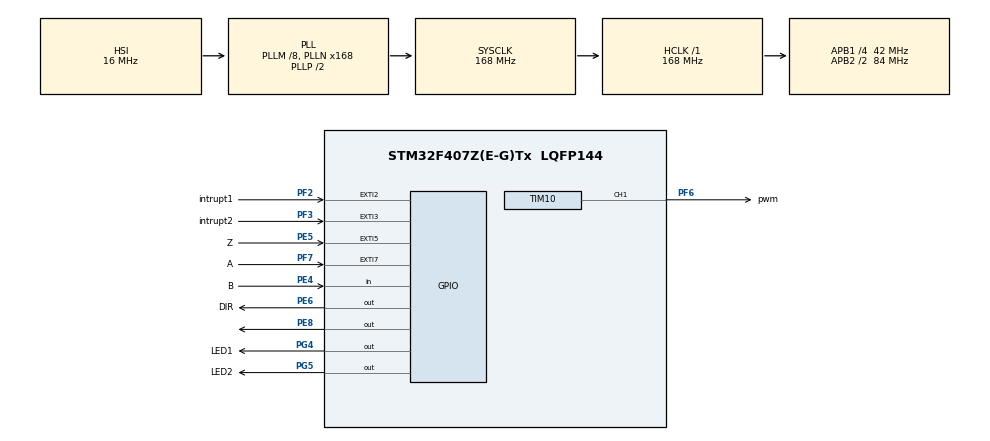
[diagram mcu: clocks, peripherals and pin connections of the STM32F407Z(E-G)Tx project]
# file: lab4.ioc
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Mcu.Family=STM32F4
Mcu.Name=STM32F407Z(E-G)Tx
Mcu.Package=LQFP144
NVIC.EXTI2_IRQn=true\:0\:0\:false\:false\:true\:true\:true\:true
NVIC.EXTI3_IRQn=true\:0\:0\:false\:false\:true\:true\:true\:true
NVIC.EXTI9_5_IRQn=true\:0\:0\:false\:false\:true\:true\:true\:true
NVIC.PriorityGroup=NVIC_PRIORITYGROUP_4
NVIC.TIM6_DAC_IRQn=true\:0\:0\:false\:false\:true\:true\:true\:true
NVIC.TIM7_IRQn=true\:0\:0\:false\:false\:true\:true\:true\:true
PE4.GPIO_Label=B
PE4.Signal=GPIO_Input
PE5.GPIO_Label=Z
PE5.Signal=GPXTI5
PE6.GPIO_Label=DIR
PE6.Signal=GPIO_Output
PE8.Signal=GPIO_Output
PF2.GPIO_Label=intrupt1
PF2.Signal=GPXTI2
PF3.GPIO_Label=intrupt2
PF3.Signal=GPXTI3
PF6.GPIO_Label=pwm
PF6.Signal=S_TIM10_CH1
PF7.GPIO_Label=A
PF7.Signal=GPXTI7
PG4.GPIO_Label=LED1
PG4.Signal=GPIO_Output
PG5.GPIO_Label=LED2
PG5.Signal=GPIO_Output
ProjectManager.HeapSize=0x200
ProjectManager.StackSize=0x400
ProjectManager.TargetToolchain=STM32CubeIDE
RCC.48MHZClocksFreq_Value=84000000
RCC.AHBFreq_Value=168000000
RCC.APB1CLKDivider=RCC_HCLK_DIV4
RCC.APB1Freq_Value=42000000
RCC.APB1TimFreq_Value=84000000
RCC.APB2CLKDivider=RCC_HCLK_DIV2
RCC.APB2Freq_Value=84000000
RCC.APB2TimFreq_Value=168000000
RCC.CortexFreq_Value=168000000
RCC.HCLKFreq_Value=168000000
RCC.HSE_VALUE=25000000
RCC.HSI_VALUE=16000000
RCC.LSE_VALUE=32768
RCC.PLLM=8
RCC.PLLN=168
RCC.SYSCLKFreq_VALUE=168000000
RCC.SYSCLKSource=RCC_SYSCLKSOURCE_PLLCLK
RCC.VCOOutputFreq_Value=336000000
SH.S_TIM10_CH1.0=TIM10_CH1,PWM Generation1 CH1
TIM10.Channel=TIM_CHANNEL_1
TIM10.Period=11199
TIM10.Prescaler=0
TIM11.Channel=TIM_CHANNEL_1
TIM11.Period=999
TIM11.Prescaler=839
TIM6.Period=999
TIM6.Prescaler=839
TIM7.Period=9999
TIM7.Prescaler=83
VP_TIM10_VS_ClockSourceINT.Mode=Enable_Timer
VP_TIM11_VS_ClockSourceINT.Mode=Enable_Timer
VP_TIM6_VS_ClockSourceINT.Mode=Enable_Timer
VP_TIM7_VS_ClockSourceINT.Mode=Enable_Timer
board=custom

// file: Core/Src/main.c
/* USER CODE BEGIN Header */
/**
  ******************************************************************************
  * @file           : main.c
  * @brief          : Main program body
  ******************************************************************************
  * @attention
  *
  * Copyright (c) 2024 STMicroelectronics.
  * All rights reserved.
  *
  * This software is licensed under terms that can be found in the LICENSE file
  * in the root directory of this software component.
  * If no LICENSE file comes with this software, it is provided AS-IS.
  *
  ******************************************************************************
  */
/* USER CODE END Header */
#include "main.h"

TIM_HandleTypeDef htim6;
TIM_HandleTypeDef htim7;
TIM_HandleTypeDef htim10;
TIM_HandleTypeDef htim11;

/* USER CODE BEGIN PV */

uint32_t PPR=1024;
uint32_t speed_counter = 0;
uint32_t direction = 0;
int32_t speed = 0;
uint32_t pos = 0;
int32_t pos_counter = 0;
uint32_t MAX_Voltage = 12.0f;
float error = 0.0f;
float error0 = 0.0f;
float k_p = 0.01 ,k_i = 0.01;
float setpoint = 270;
float u = 0.0f , u0=0.0f;
float Ts= 0.13f;
float c1=-0.4926f , c2=0.7454, c3=-0.6822;

/* USER CODE END PV */

void SystemClock_Config(void);
static void MX_GPIO_Init(void);
static void MX_TIM10_Init(void);
static void MX_TIM6_Init(void);
static void MX_TIM7_Init(void);
static void MX_TIM11_Init(void);

/* USER CODE BEGIN 0 */

enum{
	INIT,
	CONTROL
} state;
/* USER CODE END 0 */

int main(void)
{

  /* MCU Configuration--------------------------------------------------------*/

  /* Reset of all peripherals, Initializes the Flash interface and the Systick. */
  HAL_Init();

  /* Configure the system clock */
  SystemClock_Config();

  /* Initialize all configured peripherals */
  MX_GPIO_Init();
  MX_TIM10_Init();
  MX_TIM6_Init();
  MX_TIM7_Init();
  MX_TIM11_Init();
  /* USER CODE BEGIN 2 */
  HAL_TIM_Base_Start_IT(&htim6);

/*HAL_TIM_Base_Start_IT(&htim7);

	HAL_GPIO_WritePin(GPIOG, GPIO_PIN_7, GPIO_PIN_RESET);

	HAL_TIM_PWM_Start(&htim11, TIM_CHANNEL_1);
	TIM11->CCR1 = 80;
 */
  /* USER CODE END 2 */

  /* Infinite loop */
  while (1)
  {

    /* USER CODE BEGIN 3 */
	  switch (state){
	  case INIT:

		  TIM10->CCR1=0;
		  HAL_TIM_PWM_Start(&htim10 , TIM_CHANNEL_1);
		  HAL_TIM_Base_Start_IT(&htim6);
		  HAL_TIM_Base_Start_IT(&htim7);
		  state = CONTROL;
		  break;
	  case CONTROL:
		  break;
	  }
  }
  /* USER CODE END 3 */
}

void SystemClock_Config(void)
{
  RCC_OscInitTypeDef RCC_OscInitStruct = {0};
  RCC_ClkInitTypeDef RCC_ClkInitStruct = {0};

  /** Configure the main internal regulator output voltage
  */
  __HAL_RCC_PWR_CLK_ENABLE();
  __HAL_PWR_VOLTAGESCALING_CONFIG(PWR_REGULATOR_VOLTAGE_SCALE1);

  /** Initializes the RCC Oscillators according to the specified parameters
  * in the RCC_OscInitTypeDef structure.
  */
  RCC_OscInitStruct.OscillatorType = RCC_OSCILLATORTYPE_HSI;
  RCC_OscInitStruct.HSIState = RCC_HSI_ON;
  RCC_OscInitStruct.HSICalibrationValue = RCC_HSICALIBRATION_DEFAULT;
  RCC_OscInitStruct.PLL.PLLState = RCC_PLL_ON;
  RCC_OscInitStruct.PLL.PLLSource = RCC_PLLSOURCE_HSI;
  RCC_OscInitStruct.PLL.PLLM = 8;
  RCC_OscInitStruct.PLL.PLLN = 168;
  RCC_OscInitStruct.PLL.PLLP = RCC_PLLP_DIV2;
  RCC_OscInitStruct.PLL.PLLQ = 4;
  if (HAL_RCC_OscConfig(&RCC_OscInitStruct) != HAL_OK)
  {
    Error_Handler();
  }

  /** Initializes the CPU, AHB and APB buses clocks
  */
  RCC_ClkInitStruct.ClockType = RCC_CLOCKTYPE_HCLK|RCC_CLOCKTYPE_SYSCLK
                              |RCC_CLOCKTYPE_PCLK1|RCC_CLOCKTYPE_PCLK2;
  RCC_ClkInitStruct.SYSCLKSource = RCC_SYSCLKSOURCE_PLLCLK;
  RCC_ClkInitStruct.AHBCLKDivider = RCC_SYSCLK_DIV1;
  RCC_ClkInitStruct.APB1CLKDivider = RCC_HCLK_DIV4;
  RCC_ClkInitStruct.APB2CLKDivider = RCC_HCLK_DIV2;

  if (HAL_RCC_ClockConfig(&RCC_ClkInitStruct, FLASH_LATENCY_5) != HAL_OK)
  {
    Error_Handler();
  }
}

static void MX_TIM6_Init(void)
{

  TIM_MasterConfigTypeDef sMasterConfig = {0};

  htim6.Instance = TIM6;
  htim6.Init.Prescaler = 839;
  htim6.Init.CounterMode = TIM_COUNTERMODE_UP;
  htim6.Init.Period = 999;
  htim6.Init.AutoReloadPreload = TIM_AUTORELOAD_PRELOAD_DISABLE;
  if (HAL_TIM_Base_Init(&htim6) != HAL_OK)
  {
    Error_Handler();
  }
  sMasterConfig.MasterOutputTrigger = TIM_TRGO_RESET;
  sMasterConfig.MasterSlaveMode = TIM_MASTERSLAVEMODE_DISABLE;
  if (HAL_TIMEx_MasterConfigSynchronization(&htim6, &sMasterConfig) != HAL_OK)
  {
    Error_Handler();
  }
  /* USER CODE BEGIN TIM6_Init 2 */
  //htim6.Init.Period = Ts_ARR;
  /* USER CODE END TIM6_Init 2 */

}

static void MX_TIM7_Init(void)
{

  TIM_MasterConfigTypeDef sMasterConfig = {0};

  htim7.Instance = TIM7;
  htim7.Init.Prescaler = 83;
  htim7.Init.CounterMode = TIM_COUNTERMODE_UP;
  htim7.Init.Period = 9999;
  htim7.Init.AutoReloadPreload = TIM_AUTORELOAD_PRELOAD_DISABLE;
  if (HAL_TIM_Base_Init(&htim7) != HAL_OK)
  {
    Error_Handler();
  }
  sMasterConfig.MasterOutputTrigger = TIM_TRGO_RESET;
  sMasterConfig.MasterSlaveMode = TIM_MASTERSLAVEMODE_DISABLE;
  if (HAL_TIMEx_MasterConfigSynchronization(&htim7, &sMasterConfig) != HAL_OK)
  {
    Error_Handler();
  }

}

static void MX_TIM10_Init(void)
{

  TIM_OC_InitTypeDef sConfigOC = {0};

  htim10.Instance = TIM10;
  htim10.Init.Prescaler = 0;
  htim10.Init.CounterMode = TIM_COUNTERMODE_UP;
  htim10.Init.Period = 11199;
  htim10.Init.ClockDivision = TIM_CLOCKDIVISION_DIV1;
  htim10.Init.AutoReloadPreload = TIM_AUTORELOAD_PRELOAD_DISABLE;
  if (HAL_TIM_Base_Init(&htim10) != HAL_OK)
  {
    Error_Handler();
  }
  if (HAL_TIM_PWM_Init(&htim10) != HAL_OK)
  {
    Error_Handler();
  }
  sConfigOC.OCMode = TIM_OCMODE_PWM1;
  sConfigOC.Pulse = 0;
  sConfigOC.OCPolarity = TIM_OCPOLARITY_HIGH;
  sConfigOC.OCFastMode = TIM_OCFAST_DISABLE;
  if (HAL_TIM_PWM_ConfigChannel(&htim10, &sConfigOC, TIM_CHANNEL_1) != HAL_OK)
  {
    Error_Handler();
  }
  HAL_TIM_MspPostInit(&htim10);

}

static void MX_TIM11_Init(void)
{

  htim11.Instance = TIM11;
  htim11.Init.Prescaler = 839;
  htim11.Init.CounterMode = TIM_COUNTERMODE_UP;
  htim11.Init.Period = 999;
  htim11.Init.ClockDivision = TIM_CLOCKDIVISION_DIV1;
  htim11.Init.AutoReloadPreload = TIM_AUTORELOAD_PRELOAD_DISABLE;
  if (HAL_TIM_Base_Init(&htim11) != HAL_OK)
  {
    Error_Handler();
  }

}

static void MX_GPIO_Init(void)
{
  GPIO_InitTypeDef GPIO_InitStruct = {0};

  /* GPIO Ports Clock Enable */
  __HAL_RCC_GPIOE_CLK_ENABLE();
  __HAL_RCC_GPIOF_CLK_ENABLE();
  __HAL_RCC_GPIOG_CLK_ENABLE();

  /*Configure GPIO pin Output Level */
  HAL_GPIO_WritePin(GPIOE, DIR_Pin|GPIO_PIN_8, GPIO_PIN_RESET);

  /*Configure GPIO pin Output Level */
  HAL_GPIO_WritePin(GPIOG, LED1_Pin|LED2_Pin, GPIO_PIN_RESET);

  /*Configure GPIO pin : B_Pin */
  GPIO_InitStruct.Pin = B_Pin;
  GPIO_InitStruct.Mode = GPIO_MODE_INPUT;
  GPIO_InitStruct.Pull = GPIO_NOPULL;
  HAL_GPIO_Init(B_GPIO_Port, &GPIO_InitStruct);

  /*Configure GPIO pin : Z_Pin */
  GPIO_InitStruct.Pin = Z_Pin;
  GPIO_InitStruct.Mode = GPIO_MODE_IT_RISING;
  GPIO_InitStruct.Pull = GPIO_NOPULL;
  HAL_GPIO_Init(Z_GPIO_Port, &GPIO_InitStruct);

  /*Configure GPIO pins : DIR_Pin PE8 */
  GPIO_InitStruct.Pin = DIR_Pin|GPIO_PIN_8;
  GPIO_InitStruct.Mode = GPIO_MODE_OUTPUT_PP;
  GPIO_InitStruct.Pull = GPIO_NOPULL;
  GPIO_InitStruct.Speed = GPIO_SPEED_FREQ_LOW;
  HAL_GPIO_Init(GPIOE, &GPIO_InitStruct);

  /*Configure GPIO pins : intrupt1_Pin intrupt2_Pin A_Pin */
  GPIO_InitStruct.Pin = intrupt1_Pin|intrupt2_Pin|A_Pin;
  GPIO_InitStruct.Mode = GPIO_MODE_IT_RISING;
  GPIO_InitStruct.Pull = GPIO_NOPULL;
  HAL_GPIO_Init(GPIOF, &GPIO_InitStruct);

  /*Configure GPIO pins : LED1_Pin LED2_Pin */
  GPIO_InitStruct.Pin = LED1_Pin|LED2_Pin;
  GPIO_InitStruct.Mode = GPIO_MODE_OUTPUT_PP;
  GPIO_InitStruct.Pull = GPIO_NOPULL;
  GPIO_InitStruct.Speed = GPIO_SPEED_FREQ_LOW;
  HAL_GPIO_Init(GPIOG, &GPIO_InitStruct);

  /* EXTI interrupt init*/
  HAL_NVIC_SetPriority(EXTI2_IRQn, 0, 0);
  HAL_NVIC_EnableIRQ(EXTI2_IRQn);

  HAL_NVIC_SetPriority(EXTI3_IRQn, 0, 0);
  HAL_NVIC_EnableIRQ(EXTI3_IRQn);

  HAL_NVIC_SetPriority(EXTI9_5_IRQn, 0, 0);
  HAL_NVIC_EnableIRQ(EXTI9_5_IRQn);

}

/* USER CODE BEGIN 4 */

void setDir (uint32_t dir){
	HAL_GPIO_WritePin(GPIOE, GPIO_PIN_6, dir);
}

void Vout2PWM(float u){
	float duty=0.0f;
	if (u >=0.0f){
		duty= u/MAX_Voltage;
		setDir(0);
	}
	else{
		duty= (-u)/MAX_Voltage;
		setDir(1);
	}
	TIM10->CCR1 = (uint32_t) (duty * TIM10->ARR);
}

void HAL_TIM_PeriodElapsedCallback(TIM_HandleTypeDef *htim) {
	if (htim->Instance == TIM7) {
		speed = (speed_counter * 6000) / PPR;
		pos=((pos_counter % PPR)*360)/PPR;
		speed_counter=0;

	}
	if (htim->Instance == TIM6) {
		error = setpoint - pos;
		if (fabs(error) < 18){
			u=0;
		}
		else{
			u = c1*u0 +  c2*error + c3*error0;
			if (u<3.5 & u>0){
				u=3.5;
			}
			if(u>-3.5 & u<0){
				u=-3.5;
			}
			if (u>4){
				u=4;
			}
			if (u<-4){
				u=-4;
			}
		}
		error0 = error;
		u0=u;
		Vout2PWM(u);

	}
}

void HAL_GPIO_EXTI_Callback(uint16_t pin) {
	if (pin == A_Pin){
		speed_counter ++;
		if (HAL_GPIO_ReadPin(B_GPIO_Port, B_Pin) == GPIO_PIN_SET){
			direction = 0;
			pos_counter ++;
		}else{
			direction = 1;
			pos_counter --;
			if (pos_counter<0){
				pos_counter = PPR;
			}
	}
}
}

/* USER CODE END 4 */

void Error_Handler(void)
{
  __disable_irq();
  while (1)
  {
  }
}
